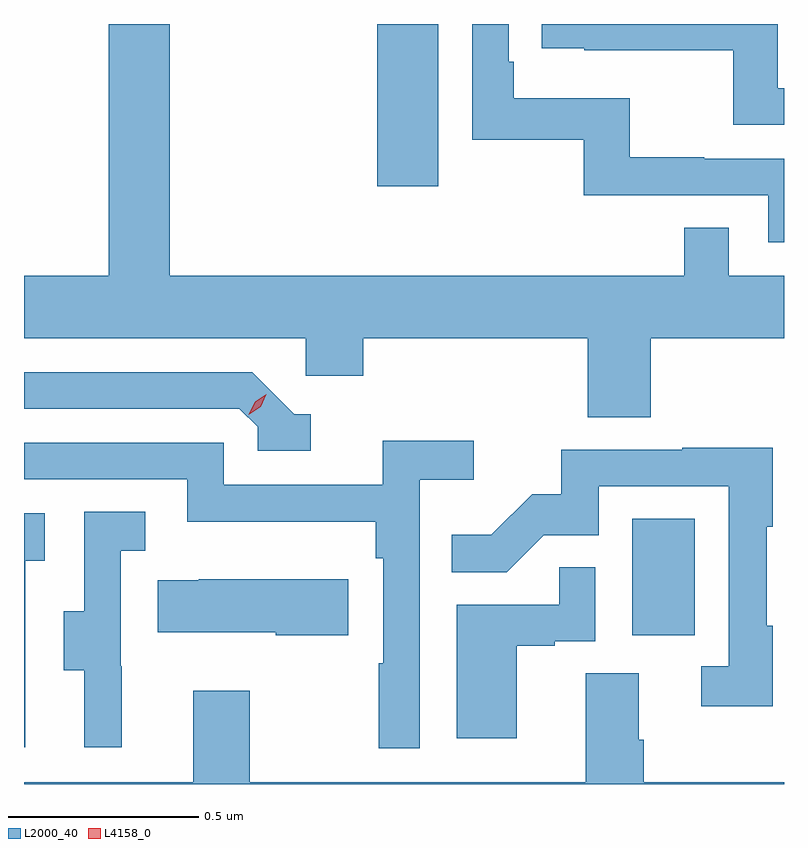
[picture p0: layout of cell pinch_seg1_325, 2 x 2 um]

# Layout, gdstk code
import gdstk
lib = gdstk.Library(unit=1e-6, precision=1e-09)
def R(c, l, rs):  # rectangles x0, y0, x1, y1
    for r in rs: c.add(gdstk.rectangle(r[:2], r[2:], *l))
def P(c, l, *ps):  # polygons
    for p in ps: c.add(gdstk.Polygon(p, *l))
L2000_40 = (2000, 40)
L4158_0 = (4158, 0)

pinch_seg1_325 = lib.new_cell('pinch_seg1_325')
R(pinch_seg1_325, L2000_40, [(1014.068,542.958,1014.232,543.265), (1013.396,544.14,1013.557,544.567)])
P(pinch_seg1_325, L2000_40, [(1014.116,543.74),(1014.467,543.74),(1014.467,543.904),(1014.321,543.904),(1014.321,544.031),(1014.205,544.031),(1014.205,543.904),(1012.85,543.904),(1012.85,544.567),(1012.69,544.567),(1012.69,543.904),(1012.467,543.904),(1012.467,543.74),(1013.208,543.74),(1013.208,543.642),(1013.36,543.642),(1013.36,543.74),(1013.951,543.74),(1013.951,543.532),(1014.116,543.532)],
  [(1014.467,544.212),(1014.257,544.212),(1014.257,544.217),(1014.061,544.217),(1014.061,544.372),(1013.756,544.372),(1013.756,544.468),(1013.742,544.468),(1013.742,544.567),(1013.646,544.567),(1013.646,544.263),(1013.94,544.263),(1013.94,544.116),(1014.426,544.116),(1014.426,543.993),(1014.467,543.993)],
  [(1014.467,544.398),(1014.45,544.398),(1014.45,544.567),(1013.829,544.567),(1013.829,544.503),(1013.941,544.503),(1013.941,544.498),(1014.334,544.498),(1014.334,544.302),(1014.467,544.302)],
  [(1013.221,543.54),(1013.178,543.54),(1013.067,543.651),(1012.467,543.651),(1012.467,543.555),(1013.034,543.555),(1013.082,543.507),(1013.082,543.444),(1013.221,543.444)],
  [(1013.508,543.368),(1013.65,543.368),(1013.65,543.47),(1013.411,543.47),(1013.411,543.354),(1012.992,543.354),(1012.992,543.465),(1012.467,543.465),(1012.467,543.369),(1012.896,543.369),(1012.896,543.257),(1013.392,543.257),(1013.392,543.161),(1013.412,543.161),(1013.412,542.885),(1013.4,542.885),(1013.4,542.661),(1013.508,542.661)],
  [(1014.437,542.984),(1014.422,542.984),(1014.422,543.244),(1014.437,543.244),(1014.437,543.452),(1014.199,543.452),(1014.199,543.447),(1013.881,543.447),(1013.881,543.33),(1013.804,543.33),(1013.697,543.223),(1013.593,543.223),(1013.593,543.124),(1013.737,543.124),(1013.835,543.222),(1013.979,543.222),(1013.979,543.351),(1014.321,543.351),(1014.321,542.877),(1014.249,542.877),(1014.249,542.772),(1014.437,542.772)],
  [(1012.724,542.877),(1012.722,542.877),(1012.722,543.181),(1012.786,543.181),(1012.786,543.284),(1012.626,543.284),(1012.626,543.021),(1012.571,543.021),(1012.571,542.866),(1012.625,542.866),(1012.625,542.664),(1012.724,542.664)],
  [(1012.47,543.155),(1012.522,543.155),(1012.522,543.279),(1012.467,543.279),(1012.467,542.664),(1012.47,542.664)],
  [(1013.764,542.931),(1013.864,542.931),(1013.864,542.943),(1013.97,542.943),(1013.97,543.137),(1013.875,543.137),(1013.875,543.039),(1013.606,543.039),(1013.606,542.688),(1013.764,542.688)],
  [(1013.32,543.106),(1012.927,543.106),(1012.927,543.103),(1012.819,543.103),(1012.819,542.966),(1013.129,542.966),(1013.129,542.959),(1013.32,542.959)],
  [(1014.467,542.572),(1014.098,542.572),(1014.098,542.684),(1014.085,542.684),(1014.085,542.858),(1013.945,542.858),(1013.945,542.572),(1013.061,542.572),(1013.061,542.812),(1012.913,542.812),(1012.913,542.572),(1012.467,542.572),(1012.467,542.567),(1014.467,542.567)])
P(pinch_seg1_325, L4158_0, [(1013.059,543.539),(1013.059,543.54),(1013.075,543.573),(1013.105,543.593),(1013.105,543.593),(1013.105,543.593),(1013.09,543.56),(1013.059,543.539)])

lib.write_gds('pinch_seg1_325.gds')
